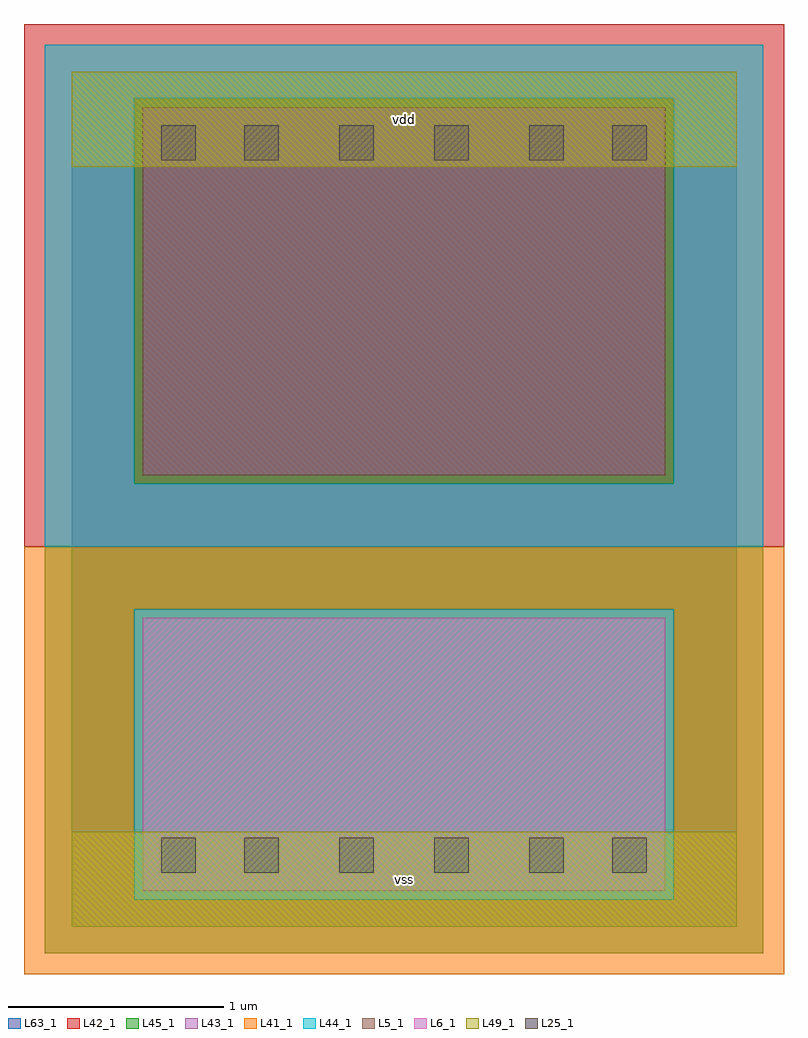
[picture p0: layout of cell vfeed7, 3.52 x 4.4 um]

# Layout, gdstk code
import gdstk
lib = gdstk.Library(unit=1e-6, precision=1e-09)
def R(c, l, rs):  # rectangles x0, y0, x1, y1
    for r in rs: c.add(gdstk.rectangle(r[:2], r[2:], *l))
def A(c, l, x, y, w, h, nx, ny, dx, dy):  # array of equal rectangles
    R(c, l, [(x+i*dx, y+j*dy, x+i*dx+w, y+j*dy+h) for i in range(nx) for j in range(ny)])
L5_1 = (5, 1)
L6_1 = (6, 1)
L25_1 = (25, 1)
L41_1 = (41, 1)
L42_1 = (42, 1)
L43_1 = (43, 1)
L44_1 = (44, 1)
L45_1 = (45, 1)
L49_1 = (49, 1)
L63_1 = (63, 1)

vfeed7 = lib.new_cell('vfeed7')
R(vfeed7, L5_1, [(0.33,2.09,2.75,3.795)])
R(vfeed7, L6_1, [(0.33,0.165,2.75,1.43)])
A(vfeed7, L25_1, 0.8, 0.25, 0.16, 0.16, 4, 2, 0.44, 3.3)
R(vfeed7, L25_1, [(0.415,0.25,0.575,0.41), (2.505,0.25,2.665,0.41), (0.415,3.55,0.575,3.71), (2.505,3.55,2.665,3.71)])
R(vfeed7, L41_1, [(-0.22,-0.22,3.3,1.76)])
R(vfeed7, L42_1, [(-0.22,1.76,3.3,4.18)])
R(vfeed7, L43_1, [(0.33,0.165,2.75,1.43), (0.33,2.09,2.75,3.795)])
R(vfeed7, L44_1, [(0.29,0.125,2.79,1.47), (-0.125,1.76,3.205,2.05), (-0.125,2.05,0.29,3.835), (2.79,2.05,3.205,3.835), (-0.125,3.835,3.205,4.085)])
R(vfeed7, L45_1, [(-0.125,-0.125,3.205,0.125), (-0.125,0.125,0.29,1.47), (2.79,0.125,3.205,1.47), (-0.125,1.47,3.205,1.76), (0.29,2.05,2.79,3.835)])
R(vfeed7, L49_1, [(0,0,3.08,0.44), (0,3.52,3.08,3.96)])
R(vfeed7, L63_1, [(0,0,3.08,3.96)])
vfeed7.add(gdstk.Label('vss', (1.54,0.22), layer=49, texttype=1))
vfeed7.add(gdstk.Label('vdd', (1.54,3.74), layer=49, texttype=1))

lib.write_gds('vfeed7.gds')
